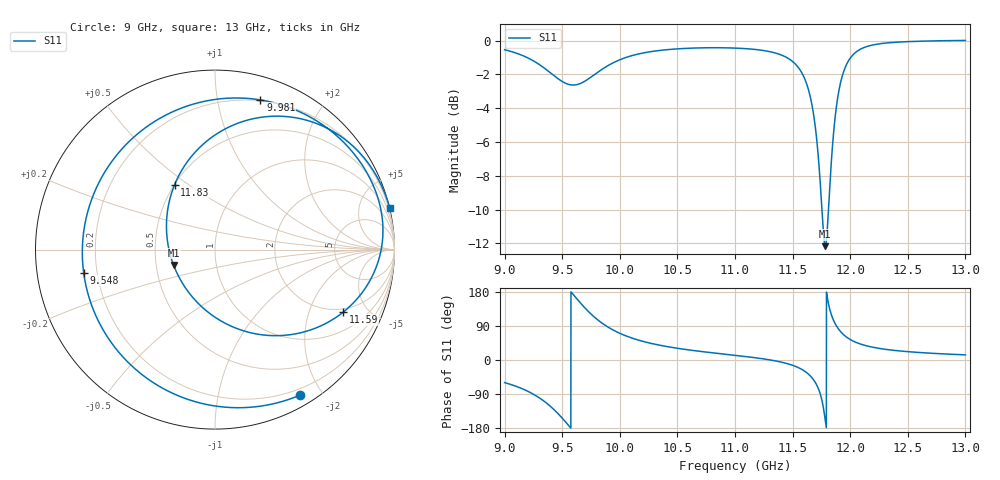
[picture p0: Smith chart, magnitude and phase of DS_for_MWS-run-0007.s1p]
! TOUCHSTONE file generated by CST DESIGN STUDIO
! Date and time: Tue Feb  4 16:26:43 2025
! Project name: C:\Work\MatlabApps\UnitCellOptimizationMatlab\CST\unitcell.cst
! Tree item: Tasks\Sweep1\SPara1\S-Parameters
! Header version: 2024
! Port assignment regex: !\s*Touchstone port\s*([0-9]+)\s*=\s*(CST MWS port|CST DES external port|CST DES block port)\s*(.+)\s* \(\"(.*)\"\)(\s*mode\s*([0-9]+))?.*
! Touchstone port assignment:
! Touchstone port 1 = CST DES external port 1 ("")
# GHz S MA R 50
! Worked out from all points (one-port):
!   4001 points, 9 GHz to 13 GHz, reference 50 ohm
!   lowest |S11| = -12.2 dB at 11.78 GHz (marker M1), VSWR 1.65, Z = 30.8 - j5.63 ohm
!   |S11| at or under -10 dB: 11.75479 GHz to 11.81146 GHz (56.67 MHz wide, 0.481 % of centre)
!   S11 on the Smith chart (normalised r, x): 9 GHz: 0.13, -1.74; 9.548 GHz: 0.15, -0.09; 9.981 GHz: 0.19, +1.33; 11.59 GHz: 1.82, -3.45; 11.83 GHz: 0.50, +0.44; 13 GHz: -0.01, +8.42
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9  0.939 -59.6
9.15  0.9046 -75.4
9.301  0.8492 -99.8
9.402  0.8005 -123.5
9.5  0.7565 -153.3
9.548  0.743 -170.0
9.642  0.743 156.1
9.759  0.7834 118.8
9.858  0.8271 94.7
9.981  0.8716 73.1
10  0.8771 70.4
10.215  0.9204 48.0
10.5  0.9447 30.9
11  0.9497 12.3
11.317  0.9245 -0.4
11.5  0.8668 -14.0
11.586  0.7955 -25.9
11.649  0.6918 -40.6
11.707  0.5187 -64.6
11.745  0.3576 -94.6
11.784  0.2465 -159.6
11.834  0.4264 121.8
11.867  0.5838 97.4
11.902  0.7108 80.4
12  0.8865 54.1
12.176  0.9666 35.0
12.5  0.9923 22.0
13  1 13.6
